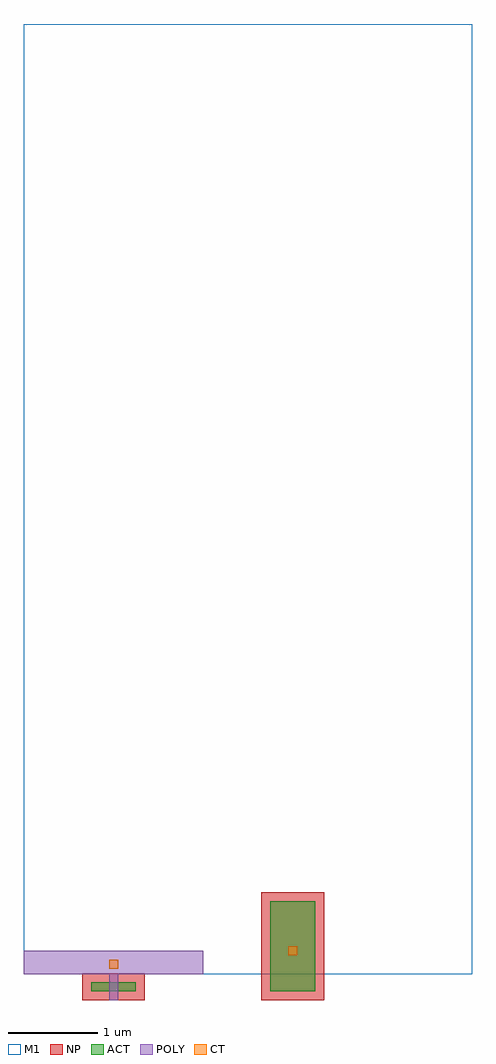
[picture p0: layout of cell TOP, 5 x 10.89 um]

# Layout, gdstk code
import gdstk
lib = gdstk.Library(unit=1e-6, precision=1e-09)
def R(c, l, rs):  # rectangles x0, y0, x1, y1
    for r in rs: c.add(gdstk.rectangle(r[:2], r[2:], *l))
ACT = (2, 1)
POLY = (41, 1)
NP = (52, 1)
CT = (72, 1)
M1 = (81, 1)

top = lib.new_cell('TOP')
R(top, ACT, [(0,0,0.5,0.1), (2,0,2.5,1)])
R(top, POLY, [(0.2,-0.1,0.3,0.2), (-0.75,0.19,1.25,0.45)])
R(top, NP, [(-0.1,-0.1,0.6,0.2), (1.9,-0.1,2.6,1.1)])
R(top, CT, [(0.2,0.25,0.3,0.35), (2.2,0.4,2.3,0.5)])
R(top, M1, [(-0.75,0.19,4.25,10.79)])

lib.write_gds('TOP.gds')
